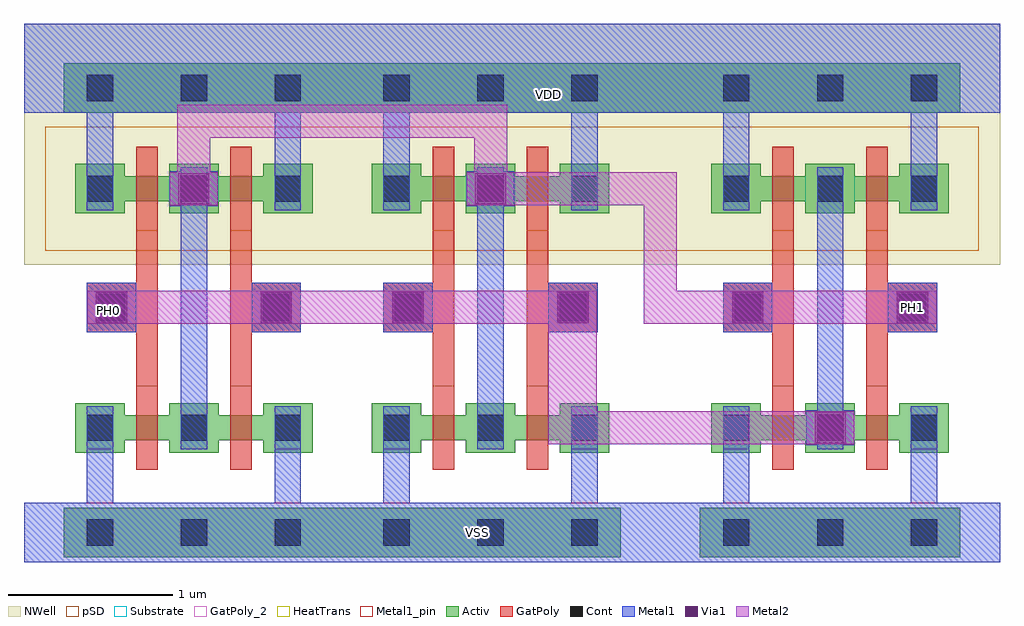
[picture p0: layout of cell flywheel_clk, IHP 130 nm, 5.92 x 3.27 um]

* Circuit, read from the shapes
.subckt flywheel_clk PH0 PH1 VDD VSS
XM1 PH1 PH0 VSS VSS sg13_lv_nmos w=0.15u l=0.13u m=4
XM2 PH0 PH1 VSS VSS sg13_lv_nmos w=0.15u l=0.13u m=2
XM3 PH1 PH0 VDD VDD sg13_lv_pmos w=0.15u l=0.13u m=4
XM4 PH0 PH1 VDD VDD sg13_lv_pmos w=0.15u l=0.13u m=2
.ends

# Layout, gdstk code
from math import pi, radians
import gdstk
lib = gdstk.Library(unit=1e-6, precision=5e-09)
def R(c, l, rs):  # rectangles x0, y0, x1, y1
    for r in rs: c.add(gdstk.rectangle(r[:2], r[2:], *l))
def P(c, l, *ps):  # polygons
    for p in ps: c.add(gdstk.Polygon(p, *l))
Activ = (1, 0)
GatPoly = (5, 0)
GatPoly_2 = (5, 2)
Cont = (6, 0)
Metal1 = (8, 0)
Metal1_pin = (8, 2)
Metal2 = (10, 0)
pSD = (14, 0)
Via1 = (19, 0)
NWell = (31, 0)
Substrate = (40, 0)
HeatTrans = (51, 0)

nmos_1_5_1_5 = lib.new_cell('nmos$1$5$1$5')
R(nmos_1_5_1_5, Activ, [(0,0,0.3,0.3), (0.57,0,0.87,0.3), (0,0.075,0.87,0.225)])
R(nmos_1_5_1_5, GatPoly, [(0.37,-0.105,0.5,0.405)])
R(nmos_1_5_1_5, GatPoly_2, [(0.37,-0.105,0.5,0.405)])
R(nmos_1_5_1_5, Cont, [(0.07,0.07,0.23,0.23), (0.64,0.07,0.8,0.23)])
R(nmos_1_5_1_5, Metal1, [(0.07,0.02,0.23,0.28), (0.64,0.02,0.8,0.28)])
R(nmos_1_5_1_5, Metal1_pin, [(0.07,0.02,0.23,0.28), (0.64,0.02,0.8,0.28)])
R(nmos_1_5_1_5, HeatTrans, [(0.37,-0.105,0.5,0.405)])
nmos_1_5_1_5.add(gdstk.Label('nmos', (0.435,0.15), layer=63, texttype=0))
nmos_1_5_1_5.add(gdstk.Label('nmos', (0.435,0.15), layer=51, texttype=0))

pmos_1_1_15_2 = lib.new_cell('pmos$1$1$15$2')
R(pmos_1_1_15_2, Activ, [(0,0,0.3,0.3), (0.57,0,0.87,0.3), (0,0.075,0.87,0.225)])
R(pmos_1_1_15_2, GatPoly, [(0.37,-0.105,0.5,0.405), (0.37,-0.105,0.5,0.405)])
R(pmos_1_1_15_2, Cont, [(0.07,0.07,0.23,0.23), (0.64,0.07,0.8,0.23)])
R(pmos_1_1_15_2, Metal1, [(0.07,0.02,0.23,0.28), (0.07,0.02,0.23,0.28), (0.64,0.02,0.8,0.28), (0.64,0.02,0.8,0.28)])
R(pmos_1_1_15_2, pSD, [(-0.18,-0.225,1.05,0.525)])
R(pmos_1_1_15_2, NWell, [(-0.31,-0.31,1.18,0.61)])
R(pmos_1_1_15_2, Substrate, [(0.57,0,0.87,0.3)])
R(pmos_1_1_15_2, HeatTrans, [(0.37,-0.105,0.5,0.405)])
pmos_1_1_15_2.add(gdstk.Label('pmos', (0.435,0.15), layer=63, texttype=0))
pmos_1_1_15_2.add(gdstk.Label('pmos', (0.435,0.15), layer=51, texttype=0))

inv_1_1 = lib.new_cell('inv$1$1')
R(inv_1_1, Activ, [(0.48,-0.04,1.49,0.26), (0.48,2.655,1.49,2.955)])
P(inv_1_1, GatPoly, [(0.92,0.76),(0.92,1.325),(0.62,1.325),(0.62,1.625),(0.92,1.625),(0.92,2.45),(1.05,2.45),(1.05,0.76)])
R(inv_1_1, Cont, [(0.62,0.03,0.78,0.19), (1.19,0.03,1.35,0.19), (0.69,1.395,0.85,1.555), (0.62,2.725,0.78,2.885), (1.19,2.725,1.35,2.885)])
R(inv_1_1, Metal1, [(1.19,0.615,1.35,2.325), (0.62,1.325,0.92,1.625)])
P(inv_1_1, Metal1, [(0.24,-0.07),(0.24,0.29),(0.62,0.29),(0.62,0.875),(0.78,0.875),(0.78,0.29),(1.73,0.29),(1.73,-0.07)],
  [(0.62,2.065),(0.62,2.655),(0.24,2.655),(0.24,3.195),(1.73,3.195),(1.73,2.655),(0.78,2.655),(0.78,2.065)])
R(inv_1_1, Metal1_pin, [(0.24,-0.07,1.73,0.29), (1.19,0.615,1.35,2.325), (0.62,1.325,0.92,1.625), (0.24,2.655,1.73,3.195)])
R(inv_1_1, pSD, [(0.24,-0.07,1.73,0.29)])
R(inv_1_1, NWell, [(0.24,2.655,1.73,3.195)])
inv_1_1.add(gdstk.Reference(nmos_1_5_1_5, (0.55,0.595)))
inv_1_1.add(gdstk.Reference(pmos_1_1_15_2, (0.55,2.045)))
inv_1_1.add(gdstk.Label('VDD', (0.675,2.805), layer=8, texttype=25))
inv_1_1.add(gdstk.Label('VIN', (0.73,1.475), layer=8, texttype=25))
inv_1_1.add(gdstk.Label('VOUT', (1.2,1.665), layer=8, texttype=25))
inv_1_1.add(gdstk.Label('VDD', (0.675,2.805), layer=8, texttype=25))
inv_1_1.add(gdstk.Label('VIN', (0.73,1.475), layer=8, texttype=25))
inv_1_1.add(gdstk.Label('VOUT', (1.2,1.665), layer=8, texttype=25))
inv_1_1.add(gdstk.Label('VDD', (0.675,2.805), layer=8, texttype=25))
inv_1_1.add(gdstk.Label('VIN', (0.73,1.475), layer=8, texttype=25))
inv_1_1.add(gdstk.Label('VOUT', (1.2,1.665), layer=8, texttype=25))
inv_1_1.add(gdstk.Label('VDD', (0.675,2.805), layer=8, texttype=25))
inv_1_1.add(gdstk.Label('VIN', (0.73,1.475), layer=8, texttype=25))
inv_1_1.add(gdstk.Label('VOUT', (1.2,1.665), layer=8, texttype=25))
inv_1_1.add(gdstk.Label('VDD', (0.675,2.805), layer=8, texttype=25))
inv_1_1.add(gdstk.Label('VIN', (0.73,1.475), layer=8, texttype=25))
inv_1_1.add(gdstk.Label('VOUT', (1.2,1.665), layer=8, texttype=25))
inv_1_1.add(gdstk.Label('VDD', (0.675,2.805), layer=8, texttype=25))
inv_1_1.add(gdstk.Label('VIN', (0.73,1.475), layer=8, texttype=25))
inv_1_1.add(gdstk.Label('VOUT', (1.2,1.665), layer=8, texttype=25))
inv_1_1.add(gdstk.Label('VDD', (0.675,2.805), layer=8, texttype=25))
inv_1_1.add(gdstk.Label('VIN', (0.73,1.475), layer=8, texttype=25))
inv_1_1.add(gdstk.Label('VOUT', (1.2,1.665), layer=8, texttype=25))
inv_1_1.add(gdstk.Label('VDD', (0.675,2.805), layer=8, texttype=25))
inv_1_1.add(gdstk.Label('VIN', (0.73,1.475), layer=8, texttype=25))
inv_1_1.add(gdstk.Label('VOUT', (1.2,1.665), layer=8, texttype=25))
inv_1_1.add(gdstk.Label('VDD', (0.675,2.805), layer=8, texttype=25))
inv_1_1.add(gdstk.Label('VIN', (0.73,1.475), layer=8, texttype=25))
inv_1_1.add(gdstk.Label('VOUT', (1.2,1.665), layer=8, texttype=25))
inv_1_1.add(gdstk.Label('VDD', (0.675,2.805), layer=8, texttype=25))
inv_1_1.add(gdstk.Label('VIN', (0.73,1.475), layer=8, texttype=25))
inv_1_1.add(gdstk.Label('VOUT', (1.2,1.665), layer=8, texttype=25))
inv_1_1.add(gdstk.Label('VDD', (0.675,2.805), layer=8, texttype=25))
inv_1_1.add(gdstk.Label('VIN', (0.73,1.475), layer=8, texttype=25))
inv_1_1.add(gdstk.Label('VOUT', (1.2,1.665), layer=8, texttype=25))
inv_1_1.add(gdstk.Label('VDD', (0.675,2.805), layer=8, texttype=25))
inv_1_1.add(gdstk.Label('VIN', (0.73,1.475), layer=8, texttype=25))
inv_1_1.add(gdstk.Label('VOUT', (1.2,1.665), layer=8, texttype=25))
inv_1_1.add(gdstk.Label('VDD', (0.675,2.805), layer=8, texttype=25))
inv_1_1.add(gdstk.Label('VIN', (0.73,1.475), layer=8, texttype=25))
inv_1_1.add(gdstk.Label('VOUT', (1.2,1.665), layer=8, texttype=25))
inv_1_1.add(gdstk.Label('VDD', (0.675,2.805), layer=8, texttype=25))
inv_1_1.add(gdstk.Label('VIN', (0.73,1.475), layer=8, texttype=25))
inv_1_1.add(gdstk.Label('VOUT', (1.2,1.665), layer=8, texttype=25))
inv_1_1.add(gdstk.Label('VDD', (0.675,2.805), layer=8, texttype=25))
inv_1_1.add(gdstk.Label('VIN', (0.73,1.475), layer=8, texttype=25))
inv_1_1.add(gdstk.Label('VOUT', (1.2,1.665), layer=8, texttype=25))
inv_1_1.add(gdstk.Label('VDD', (0.675,2.805), layer=8, texttype=25))
inv_1_1.add(gdstk.Label('VIN', (0.73,1.475), layer=8, texttype=25))
inv_1_1.add(gdstk.Label('VOUT', (1.2,1.665), layer=8, texttype=25))
inv_1_1.add(gdstk.Label('VDD', (0.675,2.805), layer=8, texttype=25))
inv_1_1.add(gdstk.Label('VIN', (0.73,1.475), layer=8, texttype=25))
inv_1_1.add(gdstk.Label('VOUT', (1.2,1.665), layer=8, texttype=25))
inv_1_1.add(gdstk.Label('VDD', (0.675,2.805), layer=8, texttype=25))
inv_1_1.add(gdstk.Label('VIN', (0.73,1.475), layer=8, texttype=25))
inv_1_1.add(gdstk.Label('VOUT', (1.2,1.665), layer=8, texttype=25))
inv_1_1.add(gdstk.Label('VDD', (0.675,2.805), layer=8, texttype=25))
inv_1_1.add(gdstk.Label('VIN', (0.73,1.475), layer=8, texttype=25))
inv_1_1.add(gdstk.Label('VOUT', (1.2,1.665), layer=8, texttype=25))
inv_1_1.add(gdstk.Label('VDD', (0.675,2.805), layer=8, texttype=25))
inv_1_1.add(gdstk.Label('VIN', (0.73,1.475), layer=8, texttype=25))
inv_1_1.add(gdstk.Label('VOUT', (1.2,1.665), layer=8, texttype=25))
inv_1_1.add(gdstk.Label('VDD', (0.675,2.805), layer=8, texttype=25))
inv_1_1.add(gdstk.Label('VIN', (0.73,1.475), layer=8, texttype=25))
inv_1_1.add(gdstk.Label('VOUT', (1.2,1.665), layer=8, texttype=25))
inv_1_1.add(gdstk.Label('VDD', (0.675,2.805), layer=8, texttype=25))
inv_1_1.add(gdstk.Label('VIN', (0.73,1.475), layer=8, texttype=25))
inv_1_1.add(gdstk.Label('VOUT', (1.2,1.665), layer=8, texttype=25))
inv_1_1.add(gdstk.Label('VDD', (0.675,2.805), layer=8, texttype=25))
inv_1_1.add(gdstk.Label('VIN', (0.73,1.475), layer=8, texttype=25))
inv_1_1.add(gdstk.Label('VOUT', (1.2,1.665), layer=8, texttype=25))
inv_1_1.add(gdstk.Label('VDD', (0.675,2.805), layer=8, texttype=25))
inv_1_1.add(gdstk.Label('VIN', (0.73,1.475), layer=8, texttype=25))
inv_1_1.add(gdstk.Label('VOUT', (1.2,1.665), layer=8, texttype=25))
inv_1_1.add(gdstk.Label('VDD', (0.675,2.805), layer=8, texttype=25))
inv_1_1.add(gdstk.Label('VIN', (0.73,1.475), layer=8, texttype=25))
inv_1_1.add(gdstk.Label('VOUT', (1.2,1.665), layer=8, texttype=25))
inv_1_1.add(gdstk.Label('VDD', (0.675,2.805), layer=8, texttype=25))
inv_1_1.add(gdstk.Label('VIN', (0.73,1.475), layer=8, texttype=25))
inv_1_1.add(gdstk.Label('VOUT', (1.2,1.665), layer=8, texttype=25))
inv_1_1.add(gdstk.Label('VDD', (0.675,2.805), layer=8, texttype=25))
inv_1_1.add(gdstk.Label('VIN', (0.73,1.475), layer=8, texttype=25))
inv_1_1.add(gdstk.Label('VOUT', (1.2,1.665), layer=8, texttype=25))
inv_1_1.add(gdstk.Label('VSS', (0.64,0.09), layer=8, texttype=25))
inv_1_1.add(gdstk.Label('VSS', (0.64,0.09), layer=8, texttype=25))
inv_1_1.add(gdstk.Label('VSS', (0.64,0.09), layer=8, texttype=25))
inv_1_1.add(gdstk.Label('VSS', (0.64,0.09), layer=8, texttype=25))
inv_1_1.add(gdstk.Label('VSS', (0.64,0.09), layer=8, texttype=25))
inv_1_1.add(gdstk.Label('VSS', (0.64,0.09), layer=8, texttype=25))
inv_1_1.add(gdstk.Label('VSS', (0.64,0.09), layer=8, texttype=25))
inv_1_1.add(gdstk.Label('VSS', (0.64,0.09), layer=8, texttype=25))
inv_1_1.add(gdstk.Label('VSS', (0.64,0.09), layer=8, texttype=25))
inv_1_1.add(gdstk.Label('VSS', (0.64,0.09), layer=8, texttype=25))
inv_1_1.add(gdstk.Label('VSS', (0.64,0.09), layer=8, texttype=25))
inv_1_1.add(gdstk.Label('VSS', (0.64,0.09), layer=8, texttype=25))
inv_1_1.add(gdstk.Label('VSS', (0.64,0.09), layer=8, texttype=25))
inv_1_1.add(gdstk.Label('VSS', (0.64,0.09), layer=8, texttype=25))
inv_1_1.add(gdstk.Label('VSS', (0.64,0.09), layer=8, texttype=25))
inv_1_1.add(gdstk.Label('VSS', (0.64,0.09), layer=8, texttype=25))
inv_1_1.add(gdstk.Label('VSS', (0.64,0.09), layer=8, texttype=25))
inv_1_1.add(gdstk.Label('VSS', (0.64,0.09), layer=8, texttype=25))
inv_1_1.add(gdstk.Label('VSS', (0.64,0.09), layer=8, texttype=25))
inv_1_1.add(gdstk.Label('VSS', (0.64,0.09), layer=8, texttype=25))
inv_1_1.add(gdstk.Label('VSS', (0.64,0.09), layer=8, texttype=25))
inv_1_1.add(gdstk.Label('VSS', (0.64,0.09), layer=8, texttype=25))
inv_1_1.add(gdstk.Label('VSS', (0.64,0.09), layer=8, texttype=25))
inv_1_1.add(gdstk.Label('VSS', (0.64,0.09), layer=8, texttype=25))
inv_1_1.add(gdstk.Label('VSS', (0.64,0.09), layer=8, texttype=25))
inv_1_1.add(gdstk.Label('VSS', (0.64,0.09), layer=8, texttype=25))
inv_1_1.add(gdstk.Label('VSS', (0.64,0.09), layer=8, texttype=25))

inv_d2_1_1 = lib.new_cell('inv_d2$1$1')
R(inv_d2_1_1, Metal1, [(0.625,1.705,0.915,1.915), (0.625,1.705,0.915,1.915), (0.625,1.705,0.915,1.915), (0.625,1.705,0.915,1.915), (0.625,1.705,0.915,1.915), (0.625,1.705,0.915,1.915), (1.625,1.705,1.915,1.915), (1.625,1.705,1.915,1.915), (1.625,1.705,1.915,1.915), (1.625,1.705,1.915,1.915), (1.625,1.705,1.915,1.915), (1.625,1.705,1.915,1.915)])
R(inv_d2_1_1, Metal1_pin, [(1.19,0.95,1.35,2.66), (1.19,0.95,1.35,2.66), (1.19,0.95,1.35,2.66), (1.19,0.95,1.35,2.66), (1.19,0.95,1.35,2.66), (1.19,0.95,1.35,2.66), (0.24,2.99,2.3,3.53), (0.24,2.99,2.3,3.53), (0.24,2.99,2.3,3.53), (0.24,2.99,2.3,3.53), (0.24,2.99,2.3,3.53), (0.24,2.99,2.3,3.53)])
R(inv_d2_1_1, Metal2, [(0.625,1.71,0.915,1.91), (0.625,1.71,0.915,1.91), (0.625,1.71,0.915,1.91), (0.625,1.71,0.915,1.91), (0.625,1.71,0.915,1.91), (0.625,1.71,0.915,1.91), (0.625,1.71,1.915,1.91), (0.625,1.71,1.915,1.91), (0.625,1.71,1.915,1.91), (0.625,1.71,1.915,1.91), (0.625,1.71,1.915,1.91), (0.625,1.71,1.915,1.91), (1.625,1.71,1.915,1.91), (1.625,1.71,1.915,1.91), (1.625,1.71,1.915,1.91), (1.625,1.71,1.915,1.91), (1.625,1.71,1.915,1.91), (1.625,1.71,1.915,1.91)])
R(inv_d2_1_1, Via1, [(0.675,1.715,0.865,1.905), (0.675,1.715,0.865,1.905), (0.675,1.715,0.865,1.905), (0.675,1.715,0.865,1.905), (0.675,1.715,0.865,1.905), (0.675,1.715,0.865,1.905), (1.675,1.715,1.865,1.905), (1.675,1.715,1.865,1.905), (1.675,1.715,1.865,1.905), (1.675,1.715,1.865,1.905), (1.675,1.715,1.865,1.905), (1.675,1.715,1.865,1.905)])
inv_d2_1_1.add(gdstk.Reference(inv_1_1, (0,0.335)))
inv_d2_1_1.add(gdstk.Reference(inv_1_1, (2.54,0.335), rotation=pi, x_reflection=True))
inv_d2_1_1.add(gdstk.Label('VDD', (1.27,3.14), layer=8, texttype=25))
inv_d2_1_1.add(gdstk.Label('VOUT', (1.26,1.49), layer=8, texttype=25))
inv_d2_1_1.add(gdstk.Label('VIN', (0.74,1.8), layer=8, texttype=25))
inv_d2_1_1.add(gdstk.Label('VSS', (1.27,0.445), layer=8, texttype=25))
inv_d2_1_1.add(gdstk.Label('VDD', (1.27,3.14), layer=8, texttype=25))
inv_d2_1_1.add(gdstk.Label('VOUT', (1.26,1.49), layer=8, texttype=25))
inv_d2_1_1.add(gdstk.Label('VIN', (0.74,1.8), layer=8, texttype=25))
inv_d2_1_1.add(gdstk.Label('VSS', (1.27,0.445), layer=8, texttype=25))
inv_d2_1_1.add(gdstk.Label('VDD', (1.27,3.14), layer=8, texttype=25))
inv_d2_1_1.add(gdstk.Label('VOUT', (1.26,1.49), layer=8, texttype=25))
inv_d2_1_1.add(gdstk.Label('VIN', (0.74,1.8), layer=8, texttype=25))
inv_d2_1_1.add(gdstk.Label('VSS', (1.27,0.445), layer=8, texttype=25))
inv_d2_1_1.add(gdstk.Label('VDD', (1.27,3.14), layer=8, texttype=25))
inv_d2_1_1.add(gdstk.Label('VOUT', (1.26,1.49), layer=8, texttype=25))
inv_d2_1_1.add(gdstk.Label('VIN', (0.74,1.8), layer=8, texttype=25))
inv_d2_1_1.add(gdstk.Label('VSS', (1.27,0.445), layer=8, texttype=25))
inv_d2_1_1.add(gdstk.Label('VDD', (1.27,3.14), layer=8, texttype=25))
inv_d2_1_1.add(gdstk.Label('VOUT', (1.26,1.49), layer=8, texttype=25))
inv_d2_1_1.add(gdstk.Label('VIN', (0.74,1.8), layer=8, texttype=25))
inv_d2_1_1.add(gdstk.Label('VSS', (1.27,0.445), layer=8, texttype=25))
inv_d2_1_1.add(gdstk.Label('VDD', (1.27,3.14), layer=8, texttype=25))
inv_d2_1_1.add(gdstk.Label('VOUT', (1.26,1.49), layer=8, texttype=25))
inv_d2_1_1.add(gdstk.Label('VIN', (0.74,1.8), layer=8, texttype=25))
inv_d2_1_1.add(gdstk.Label('VSS', (1.27,0.445), layer=8, texttype=25))

inv_d4_1_1 = lib.new_cell('inv_d4$1$1')
R(inv_d4_1_1, Activ, [(7.06,0.295,7.28,0.595), (7.06,2.99,7.28,3.29)])
R(inv_d4_1_1, Metal1, [(6.125,2.425,6.415,2.635), (6.125,2.425,6.415,2.635), (6.125,2.425,6.415,2.635), (7.925,2.425,8.215,2.635), (7.925,2.425,8.215,2.635), (7.925,2.425,8.215,2.635)])
R(inv_d4_1_1, Metal1_pin, [(5.24,0.265,9.1,0.625), (5.24,0.265,9.1,0.625), (5.24,0.265,9.1,0.625), (6.19,0.95,6.35,2.66), (6.19,0.95,6.35,2.66), (6.19,0.95,6.35,2.66), (7.99,0.95,8.15,2.66), (7.99,0.95,8.15,2.66), (7.99,0.95,8.15,2.66), (5.24,2.99,9.1,3.53), (5.24,2.99,9.1,3.53), (5.24,2.99,9.1,3.53)])
R(inv_d4_1_1, Metal2, [(6.67,1.71,7.67,1.91), (6.67,1.71,7.67,1.91), (6.67,1.71,7.67,1.91), (6.125,2.43,6.415,2.63), (6.125,2.43,6.415,2.63), (6.125,2.43,6.415,2.63), (7.925,2.43,8.215,2.63), (7.925,2.43,8.215,2.63), (7.925,2.43,8.215,2.63), (6.17,2.435,6.37,3.04), (6.17,2.435,6.37,3.04), (6.17,2.435,6.37,3.04), (7.97,2.435,8.17,3.04), (7.97,2.435,8.17,3.04), (7.97,2.435,8.17,3.04), (6.17,2.84,8.17,3.04), (6.17,2.84,8.17,3.04), (6.17,2.84,8.17,3.04)])
R(inv_d4_1_1, Via1, [(6.175,2.435,6.365,2.625), (6.175,2.435,6.365,2.625), (6.175,2.435,6.365,2.625), (7.975,2.435,8.165,2.625), (7.975,2.435,8.165,2.625), (7.975,2.435,8.165,2.625)])
inv_d4_1_1.add(gdstk.Reference(inv_d2_1_1, (5,0)))
inv_d4_1_1.add(gdstk.Reference(inv_d2_1_1, (6.8,0)))
inv_d4_1_1.add(gdstk.Label('VOUT', (6.245,1.985), layer=8, texttype=25))
inv_d4_1_1.add(gdstk.Label('VDD', (6.235,3.12), layer=8, texttype=25))
inv_d4_1_1.add(gdstk.Label('VSS', (6.215,0.425), layer=8, texttype=25))
inv_d4_1_1.add(gdstk.Label('VIN', (5.735,1.765), layer=8, texttype=25))
inv_d4_1_1.add(gdstk.Label('VOUT', (6.245,1.985), layer=8, texttype=25))
inv_d4_1_1.add(gdstk.Label('VDD', (6.235,3.12), layer=8, texttype=25))
inv_d4_1_1.add(gdstk.Label('VSS', (6.215,0.425), layer=8, texttype=25))
inv_d4_1_1.add(gdstk.Label('VIN', (5.735,1.765), layer=8, texttype=25))
inv_d4_1_1.add(gdstk.Label('VOUT', (6.245,1.985), layer=8, texttype=25))
inv_d4_1_1.add(gdstk.Label('VDD', (6.235,3.12), layer=8, texttype=25))
inv_d4_1_1.add(gdstk.Label('VSS', (6.215,0.425), layer=8, texttype=25))
inv_d4_1_1.add(gdstk.Label('VIN', (5.735,1.765), layer=8, texttype=25))

flywheel_clk = lib.new_cell('flywheel_clk')
R(flywheel_clk, Activ, [(8.86,2.99,9.34,3.29)])
R(flywheel_clk, Metal1, [(9.985,0.975,10.275,1.185)])
R(flywheel_clk, Metal1_pin, [(5.24,0.265,11.16,0.625), (5.24,2.99,11.16,3.53)])
R(flywheel_clk, Metal2, [(8.42,0.98,8.715,1.91), (8.42,0.98,10.275,1.18), (9.985,0.98,10.275,1.18), (9,1.71,9.78,1.91), (9,1.71,9.2,2.63), (7.925,2.43,9.2,2.63)])
R(flywheel_clk, pSD, [(8.97,2.155,9.23,2.905)])
R(flywheel_clk, Via1, [(10.035,0.985,10.225,1.175)])
flywheel_clk.add(gdstk.Reference(inv_d4_1_1, (0,0)))
flywheel_clk.add(gdstk.Reference(inv_d2_1_1, (8.86,0)))
flywheel_clk.add(gdstk.Label('VDD', (8.42,3.1), layer=8, texttype=25))
flywheel_clk.add(gdstk.Label('VSS', (7.99,0.445), layer=8, texttype=25))
flywheel_clk.add(gdstk.Label('PH0', (5.755,1.79), layer=8, texttype=25))
flywheel_clk.add(gdstk.Label('PH1', (10.63,1.81), layer=8, texttype=25))

lib.write_gds('flywheel_clk.gds')
